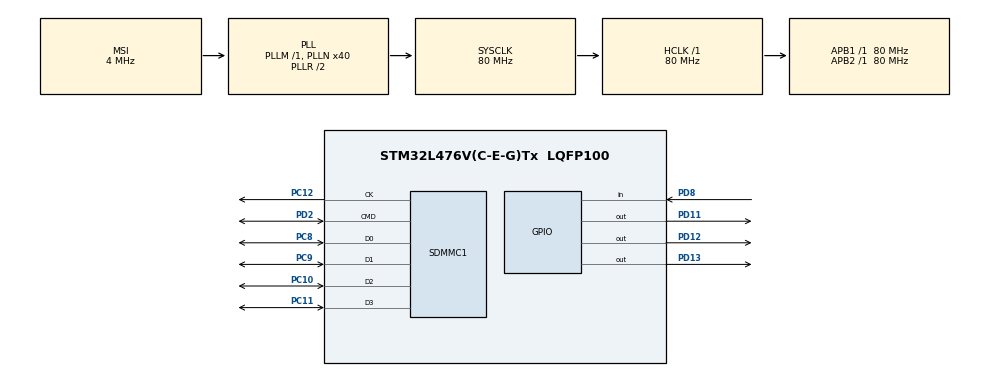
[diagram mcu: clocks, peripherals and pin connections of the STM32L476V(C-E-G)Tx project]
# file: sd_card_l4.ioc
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Dma.Request0=SDMMC1
Dma.SDMMC1.0.Direction=DMA_PERIPH_TO_MEMORY
Dma.SDMMC1.0.Instance=DMA2_Channel4
Dma.SDMMC1.0.MemDataAlignment=DMA_MDATAALIGN_WORD
Dma.SDMMC1.0.MemInc=DMA_MINC_ENABLE
Dma.SDMMC1.0.Mode=DMA_NORMAL
Dma.SDMMC1.0.PeriphDataAlignment=DMA_PDATAALIGN_WORD
Dma.SDMMC1.0.PeriphInc=DMA_PINC_DISABLE
Dma.SDMMC1.0.Priority=DMA_PRIORITY_VERY_HIGH
FATFS.BSP.number=1
FATFS._MAX_SS=4096
FATFS0.BSP.STBoard=false
FATFS0.BSP.api=Unknown
FATFS0.BSP.i2caddr=0
FATFS0.BSP.instance=PD8
FATFS0.BSP.ip=GPIO
FATFS0.BSP.mode=Input
FATFS0.BSP.name=Detect_SDIO
FATFS0.BSP.solution=PD8
FREERTOS.HEAP_NUMBER=4
FREERTOS.INCLUDE_xEventGroupSetBitFromISR=1
FREERTOS.INCLUDE_xTimerPendFunctionCall=1
FREERTOS.Tasks01=defaultTask,0,256,StartDefaultTask,Default,NULL,Dynamic,NULL,NULL
FREERTOS.configRECORD_STACK_HIGH_ADDRESS=1
FREERTOS.configTOTAL_HEAP_SIZE=10000
FREERTOS.configUSE_IDLE_HOOK=0
FREERTOS.configUSE_POSIX_ERRNO=0
FREERTOS.configUSE_STATS_FORMATTING_FUNCTIONS=1
FREERTOS.configUSE_TIMERS=1
Mcu.Family=STM32L4
Mcu.Name=STM32L476V(C-E-G)Tx
Mcu.Package=LQFP100
NVIC.DMA2_Channel4_IRQn=true\:5\:0\:false\:false\:true\:true\:false\:true
NVIC.PriorityGroup=NVIC_PRIORITYGROUP_4
NVIC.SDMMC1_IRQn=true\:5\:0\:false\:false\:true\:true\:true\:true
NVIC.TIM1_UP_TIM16_IRQn=true\:0\:0\:false\:false\:true\:false\:false\:true
NVIC.TimeBase=TIM1_UP_TIM16_IRQn
NVIC.TimeBaseIP=TIM1
PA13\ (JTMS-SWDIO).Mode=Serial_Wire
PA13\ (JTMS-SWDIO).Signal=SYS_JTMS-SWDIO
PA14\ (JTCK-SWCLK).Mode=Serial_Wire
PA14\ (JTCK-SWCLK).Signal=SYS_JTCK-SWCLK
PC10.GPIO_PuPd=GPIO_PULLUP
PC10.Mode=SD_4_bits_Wide_bus
PC10.Signal=SDMMC1_D2
PC11.GPIO_PuPd=GPIO_PULLUP
PC11.Mode=SD_4_bits_Wide_bus
PC11.Signal=SDMMC1_D3
PC12.Mode=SD_4_bits_Wide_bus
PC12.Signal=SDMMC1_CK
PC8.GPIO_PuPd=GPIO_PULLUP
PC8.Mode=SD_4_bits_Wide_bus
PC8.Signal=SDMMC1_D0
PC9.GPIO_PuPd=GPIO_PULLUP
PC9.Mode=SD_4_bits_Wide_bus
PC9.Signal=SDMMC1_D1
PD11.Signal=GPIO_Output
PD12.Signal=GPIO_Output
PD13.Signal=GPIO_Output
PD2.GPIO_PuPd=GPIO_PULLUP
PD2.Mode=SD_4_bits_Wide_bus
PD2.Signal=SDMMC1_CMD
PD8.GPIO_PuPd=GPIO_PULLDOWN
PD8.Signal=GPIO_Input
ProjectManager.HeapSize=0x200
ProjectManager.StackSize=0x400
ProjectManager.TargetToolchain=STM32CubeIDE
RCC.ADCFreq_Value=32000000
RCC.AHBFreq_Value=80000000
RCC.APB1Freq_Value=80000000
RCC.APB1TimFreq_Value=80000000
RCC.APB2Freq_Value=80000000
RCC.APB2TimFreq_Value=80000000
RCC.CortexFreq_Value=80000000
RCC.HCLKFreq_Value=80000000
RCC.HSE_VALUE=8000000
RCC.HSI_VALUE=16000000
RCC.LSE_VALUE=32768
RCC.MSI_VALUE=4000000
RCC.PLLN=40
RCC.PLLSAI1N=16
RCC.SYSCLKFreq_VALUE=80000000
RCC.SYSCLKSource=RCC_SYSCLKSOURCE_PLLCLK
RCC.USBFreq_Value=32000000
RCC.VCOOutputFreq_Value=160000000
SDMMC1.ClockBypass=SDMMC_CLOCK_BYPASS_DISABLE
SDMMC1.ClockDiv=6
SDMMC1.ClockPowerSave=SDMMC_CLOCK_POWER_SAVE_DISABLE
SDMMC1.HardwareFlowControl=SDMMC_HARDWARE_FLOW_CONTROL_ENABLE
VP_FATFS_VS_SDIO.Mode=SDIO
VP_FREERTOS_VS_CMSIS_V1.Mode=CMSIS_V1
VP_SYS_VS_tim1.Mode=TIM1
board=custom

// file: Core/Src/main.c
/* USER CODE BEGIN Header */
/**
  ******************************************************************************
  * @file           : main.c
  * @brief          : Main program body
  ******************************************************************************
  * @attention
  *
  * <h2><center>&copy; Copyright (c) 2021 STMicroelectronics.
  * All rights reserved.</center></h2>
  *
  * This software component is licensed by ST under BSD 3-Clause license,
  * the "License"; You may not use this file except in compliance with the
  * License. You may obtain a copy of the License at:
  *                        opensource.org/licenses/BSD-3-Clause
  *
  ******************************************************************************
  */
/* USER CODE END Header */

#include "main.h"
#include "cmsis_os.h"
#include "dma.h"
#include "fatfs.h"
#include "sdmmc.h"
#include "gpio.h"

void SystemClock_Config(void);
void MX_FREERTOS_Init(void);

int main(void)
{

  /* MCU Configuration--------------------------------------------------------*/

  /* Reset of all peripherals, Initializes the Flash interface and the Systick. */
  HAL_Init();

  /* Configure the system clock */
  SystemClock_Config();

  /* Initialize all configured peripherals */
  MX_GPIO_Init();
  MX_DMA_Init();
  MX_SDMMC1_SD_Init();
  MX_FATFS_Init();

  /* Call init function for freertos objects (in freertos.c) */
  MX_FREERTOS_Init();
  /* Start scheduler */
  osKernelStart();

  /* We should never get here as control is now taken by the scheduler */
  /* Infinite loop */
  while (1)
  {

  }
}

void SystemClock_Config(void)
{
  RCC_OscInitTypeDef RCC_OscInitStruct = {0};
  RCC_ClkInitTypeDef RCC_ClkInitStruct = {0};
  RCC_PeriphCLKInitTypeDef PeriphClkInit = {0};

  /** Initializes the CPU, AHB and APB busses clocks
  */
  RCC_OscInitStruct.OscillatorType = RCC_OSCILLATORTYPE_MSI;
  RCC_OscInitStruct.MSIState = RCC_MSI_ON;
  RCC_OscInitStruct.MSICalibrationValue = 0;
  RCC_OscInitStruct.MSIClockRange = RCC_MSIRANGE_6;
  RCC_OscInitStruct.PLL.PLLState = RCC_PLL_ON;
  RCC_OscInitStruct.PLL.PLLSource = RCC_PLLSOURCE_MSI;
  RCC_OscInitStruct.PLL.PLLM = 1;
  RCC_OscInitStruct.PLL.PLLN = 40;
  RCC_OscInitStruct.PLL.PLLP = RCC_PLLP_DIV7;
  RCC_OscInitStruct.PLL.PLLQ = RCC_PLLQ_DIV2;
  RCC_OscInitStruct.PLL.PLLR = RCC_PLLR_DIV2;
  if (HAL_RCC_OscConfig(&RCC_OscInitStruct) != HAL_OK)
  {
    Error_Handler();
  }
  /** Initializes the CPU, AHB and APB busses clocks
  */
  RCC_ClkInitStruct.ClockType = RCC_CLOCKTYPE_HCLK|RCC_CLOCKTYPE_SYSCLK
                              |RCC_CLOCKTYPE_PCLK1|RCC_CLOCKTYPE_PCLK2;
  RCC_ClkInitStruct.SYSCLKSource = RCC_SYSCLKSOURCE_PLLCLK;
  RCC_ClkInitStruct.AHBCLKDivider = RCC_SYSCLK_DIV1;
  RCC_ClkInitStruct.APB1CLKDivider = RCC_HCLK_DIV1;
  RCC_ClkInitStruct.APB2CLKDivider = RCC_HCLK_DIV1;

  if (HAL_RCC_ClockConfig(&RCC_ClkInitStruct, FLASH_LATENCY_4) != HAL_OK)
  {
    Error_Handler();
  }
  PeriphClkInit.PeriphClockSelection = RCC_PERIPHCLK_SDMMC1;
  PeriphClkInit.Sdmmc1ClockSelection = RCC_SDMMC1CLKSOURCE_PLLSAI1;
  PeriphClkInit.PLLSAI1.PLLSAI1Source = RCC_PLLSOURCE_MSI;
  PeriphClkInit.PLLSAI1.PLLSAI1M = 1;
  PeriphClkInit.PLLSAI1.PLLSAI1N = 16;
  PeriphClkInit.PLLSAI1.PLLSAI1P = RCC_PLLP_DIV7;
  PeriphClkInit.PLLSAI1.PLLSAI1Q = RCC_PLLQ_DIV2;
  PeriphClkInit.PLLSAI1.PLLSAI1R = RCC_PLLR_DIV2;
  PeriphClkInit.PLLSAI1.PLLSAI1ClockOut = RCC_PLLSAI1_48M2CLK;
  if (HAL_RCCEx_PeriphCLKConfig(&PeriphClkInit) != HAL_OK)
  {
    Error_Handler();
  }
  /** Configure the main internal regulator output voltage
  */
  if (HAL_PWREx_ControlVoltageScaling(PWR_REGULATOR_VOLTAGE_SCALE1) != HAL_OK)
  {
    Error_Handler();
  }
}

 /**
  * @brief  Period elapsed callback in non blocking mode
  * @note   This function is called  when TIM1 interrupt took place, inside
  * HAL_TIM_IRQHandler(). It makes a direct call to HAL_IncTick() to increment
  * a global variable "uwTick" used as application time base.
  * @param  htim : TIM handle
  * @retval None
  */
void HAL_TIM_PeriodElapsedCallback(TIM_HandleTypeDef *htim)
{
  if (htim->Instance == TIM1) {
    HAL_IncTick();
  }
}

void Error_Handler(void)
{
}

/************************ (C) COPYRIGHT STMicroelectronics *****END OF FILE****/

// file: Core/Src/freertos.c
/* USER CODE BEGIN Header */
/**
  ******************************************************************************
  * File Name          : freertos.c
  * Description        : Code for freertos applications
  ******************************************************************************
  * @attention
  *
  * <h2><center>&copy; Copyright (c) 2021 STMicroelectronics.
  * All rights reserved.</center></h2>
  *
  * This software component is licensed by ST under Ultimate Liberty license
  * SLA0044, the "License"; You may not use this file except in compliance with
  * the License. You may obtain a copy of the License at:
  *                             www.st.com/SLA0044
  *
  ******************************************************************************
  */
/* USER CODE END Header */

#include "FreeRTOS.h"
#include "task.h"
#include "main.h"
#include "cmsis_os.h"

/* USER CODE BEGIN Includes */
#include "bsp_driver_sd.h"
#include "ff_gen_drv.h"
#include "dma.h"
#include "fatfs.h"
#include "sdmmc.h"
#include "gpio.h"
#include "string.h"
#include "stdio.h"

/* USER CODE END Includes */

/* USER CODE BEGIN Variables */
extern char SDPath[4]; /* SD logical drive path */
extern FATFS SDFatFS; /* File system object for SD logical drive */
extern FIL SDFile; /* File object for SD */

UINT byteswritten;
/* USER CODE END Variables */
osThreadId defaultTaskHandle;

void StartDefaultTask(void const * argument);

void MX_FREERTOS_Init(void); /* (MISRA C 2004 rule 8.1) */

/* GetIdleTaskMemory prototype (linked to static allocation support) */
void vApplicationGetIdleTaskMemory( StaticTask_t **ppxIdleTaskTCBBuffer, StackType_t **ppxIdleTaskStackBuffer, uint32_t *pulIdleTaskStackSize );

/* GetTimerTaskMemory prototype (linked to static allocation support) */
void vApplicationGetTimerTaskMemory( StaticTask_t **ppxTimerTaskTCBBuffer, StackType_t **ppxTimerTaskStackBuffer, uint32_t *pulTimerTaskStackSize );

/* USER CODE BEGIN GET_IDLE_TASK_MEMORY */
static StaticTask_t xIdleTaskTCBBuffer;
static StackType_t xIdleStack[configMINIMAL_STACK_SIZE];

void vApplicationGetIdleTaskMemory( StaticTask_t **ppxIdleTaskTCBBuffer, StackType_t **ppxIdleTaskStackBuffer, uint32_t *pulIdleTaskStackSize )
{
  *ppxIdleTaskTCBBuffer = &xIdleTaskTCBBuffer;
  *ppxIdleTaskStackBuffer = &xIdleStack[0];
  *pulIdleTaskStackSize = configMINIMAL_STACK_SIZE;
  /* place for user code */
}
/* USER CODE END GET_IDLE_TASK_MEMORY */

/* USER CODE BEGIN GET_TIMER_TASK_MEMORY */
static StaticTask_t xTimerTaskTCBBuffer;
static StackType_t xTimerStack[configTIMER_TASK_STACK_DEPTH];

void vApplicationGetTimerTaskMemory( StaticTask_t **ppxTimerTaskTCBBuffer, StackType_t **ppxTimerTaskStackBuffer, uint32_t *pulTimerTaskStackSize )
{
  *ppxTimerTaskTCBBuffer = &xTimerTaskTCBBuffer;
  *ppxTimerTaskStackBuffer = &xTimerStack[0];
  *pulTimerTaskStackSize = configTIMER_TASK_STACK_DEPTH;
  /* place for user code */
}
/* USER CODE END GET_TIMER_TASK_MEMORY */

void MX_FREERTOS_Init(void) {

  /* Create the thread(s) */
  /* definition and creation of defaultTask */
  osThreadDef(defaultTask, StartDefaultTask, osPriorityNormal, 0, 256);
  defaultTaskHandle = osThreadCreate(osThread(defaultTask), NULL);

}

void StartDefaultTask(void const * argument)
{
  /* USER CODE BEGIN StartDefaultTask */
	uint8_t filename1[12];
  uint8_t filename2[12];
	uint8_t SD_Data[18];
  uint8_t sd_data2[4];
	sprintf(filename1, "TEST.csv");
  sprintf(filename2, "test2.csv");

	sprintf(SD_Data, "x,y,z,arsnr,mse\n");
  sprintf(sd_data2, "x,\n");
	if (f_mount(&SDFatFS, SDPath, 0) == FR_OK)
	{
		HAL_GPIO_WritePin(GPIOD, GPIO_PIN_13, SET);
		if ((f_open(&SDFile, (const TCHAR*)filename1 , FA_CREATE_ALWAYS | FA_WRITE)) == FR_OK)
    {

					HAL_GPIO_WritePin(GPIOD, GPIO_PIN_13, SET);
					if (f_write(&SDFile, SD_Data , strlen(SD_Data) , (void *)&byteswritten) == FR_OK)
					{
						if (byteswritten == strlen(SD_Data))
						{
							HAL_GPIO_WritePin(GPIOD, GPIO_PIN_11, SET);
							f_close(&SDFile);
						}

					}

				}

    if ((f_open(&SDFile, (const TCHAR*)filename2, FA_CREATE_ALWAYS | FA_WRITE)) == FR_OK)
    {
          HAL_GPIO_WritePin(GPIOD, GPIO_PIN_13, SET);
          if (f_write(&SDFile, sd_data2 , strlen(sd_data2) , (void *)&byteswritten) == FR_OK)
          {
            if (byteswritten == strlen(sd_data2))
            {
              HAL_GPIO_WritePin(GPIOD, GPIO_PIN_11, SET);
              f_close(&SDFile);
            }

          }

        }

	}
	else HAL_GPIO_WritePin(GPIOD, GPIO_PIN_12, SET);

  /* Infinite loop */
  for(;;)
  {
    osDelay(1);
  }
  /* USER CODE END StartDefaultTask */
}

/************************ (C) COPYRIGHT STMicroelectronics *****END OF FILE****/
